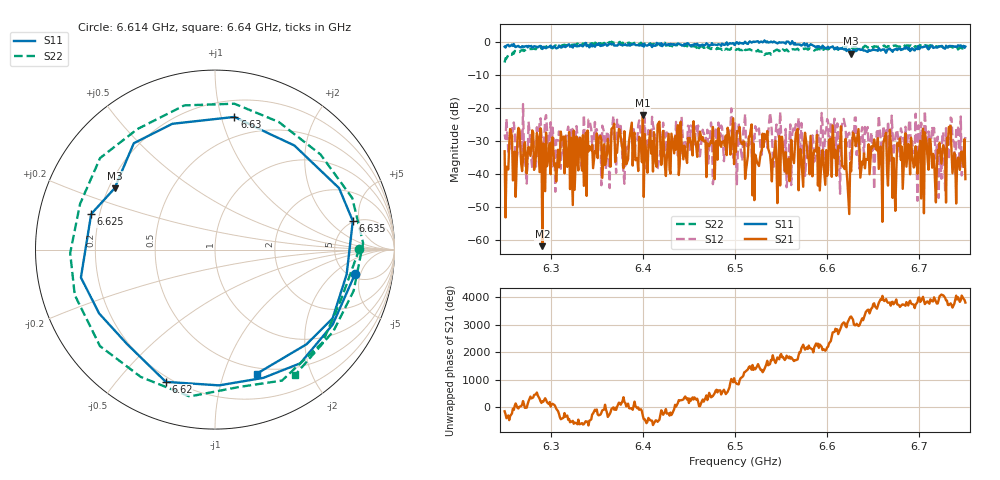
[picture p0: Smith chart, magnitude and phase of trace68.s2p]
# Hz S RI R 50
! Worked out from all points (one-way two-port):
!   401 points, 6.25 GHz to 6.75 GHz, reference 50 ohm
!   highest |S21| = -22.28 dB at 6.4 GHz (marker M1); lowest = -62.0 dB at 6.291 GHz (marker M2)
!   lowest |S11| = -3.7 dB at 6.626 GHz (marker M3), VSWR 4.80, Z = 11.2 + j13.4 ohm
!   |S11| at or under -10 dB: nowhere
!   |S22| runs from -6.4 to -0.1 dB; largest |S21 - S12| = 0.13
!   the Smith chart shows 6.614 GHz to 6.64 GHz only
!   S11 on the Smith chart (normalised r, x): 6.614 GHz: 5.52, -4.07; 6.62 GHz: 0.18, -0.68; 6.625 GHz: 0.17, +0.14; 6.63 GHz: 0.33, +1.10; 6.635 GHz: 4.85, +4.02; 6.64 GHz: 0.44, -1.30
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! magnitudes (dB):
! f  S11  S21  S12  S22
! 6.25 GHz  -1.5  -33.2  -28.2  -6.4
! 6.279 GHz  -1.3  -31.7  -35.8  -2.3
! 6.291 GHz  -2.3  -62.0  -30.7  -2.1
! 6.334 GHz  -1.3  -39.1  -38.5  -1.1
! 6.4 GHz  -0.8  -22.3  -27.4  -0.9
! 6.418 GHz  -0.6  -24.3  -35.3  -0.9
! 6.451 GHz  -1.1  -29.2  -32.8  -1.7
! 6.5 GHz  -1.0  -31.2  -24.7  -2.2
! 6.521 GHz  -0.1  -48.0  -29.5  -2.5
! 6.532 GHz  0.3  -28.0  -29.8  -4.1
! 6.584 GHz  -1.1  -40.8  -28.4  -2.6
! 6.614 GHz  -2.0  -32.1  -46.1  -1.9
! 6.62 GHz  -2.1  -29.5  -26.1  -1.6
! 6.625 GHz  -2.9  -36.7  -36.2  -1.9
! 6.626 GHz  -3.7  -39.3  -32.5  -2.0
! 6.63 GHz  -2.5  -29.2  -23.0  -1.7
! 6.635 GHz  -2.1  -32.5  -38.5  -1.8
! 6.64 GHz  -2.7  -33.9  -33.9  -1.6
! 6.668 GHz  -2.1  -26.8  -31.7  -1.6
! 6.716 GHz  -1.8  -35.3  -26.2  -1.4
! 6.732 GHz  -1.4  -25.9  -35.8  -1.5
! 6.75 GHz  -1.5  -41.7  -28.9  -2.3
